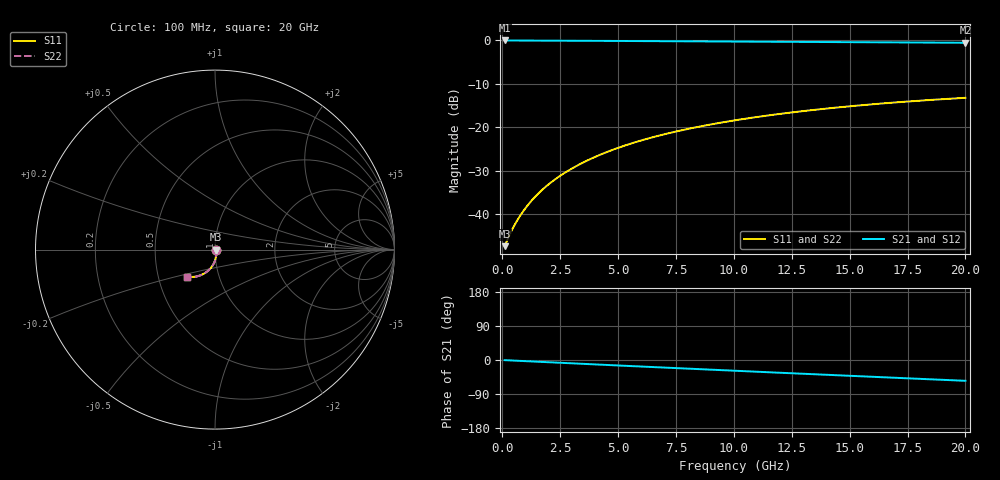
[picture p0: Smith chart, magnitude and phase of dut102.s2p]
! Touchstone file exported from HFSS 2026.1.0
!  File:  C:/ffzhzh/LocalFiles/Ansys_Project_Files/temp_train_BSMRDL_102_1782985698_40604.aedt
!  Generated:  05:49:34 PM Jul  2, 2026
!  Design:  BSMRDL
!  Project:  temp_train_BSMRDL_102_1782985698_40604
! Variables:
!  h_bsmrdl = 5.96um
!  h_ox = 20um
!  h_rdl = 5um
!  h_sub = 80um
!  h_tmrdl = 5um
!  h_tsv = 80um
!  h_via = 3um
!  l_bsmrdl = 980.58um
!  l_sub = 1380.58um
!  l_tmrdl = 200um
!  m_sub = 200um
!  pitch = 17.32um
!  r_tsv = 6um
!  s_tmrdl = 10um
!  w_bsmrdl = 14.56um
!  w_sub = 500um
!  w_tmrdl = 12um
!  x_tsv_center1 = 206um
!  x_tsv_center2 = 1201.14um
!  x_tsv_center3 = 1413.14um
!  x_tsv_center4 = 2408.28um
!  x_tsv_center5 = 2620.28um
!  x_tsv_center6 = 3615.42um
# GHz S MA R 50.000000
! Terminal data exported
! Port[1] = BSM_RDL1_1_T1
! Port[2] = BSM_RDL1_1_T2
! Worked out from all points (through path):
!   200 points, 100 MHz to 20 GHz, reference 50 ohm
!   highest |S21| = -0.04 dB at 100 MHz (marker M1); lowest = -0.6 dB at 20 GHz (marker M2)
!   group delay of S21, straight-line fit = 7.59 ps
!   lowest |S11| = -47.4 dB at 100 MHz (marker M3), VSWR 1.01, Z = 50.4 - j0.0165 ohm
!   |S11| at or under -10 dB: start of sweep to end of sweep
!   |S22| runs from -47.4 to -13.2 dB; largest |S21 - S12| = 8.7e-15
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0.1  0.004286 -2.2  0.9957 -0.3  0.9957 -0.3  0.004286 -2.2
! Gamma 0 0 0 0
! Port Impedance 50 0 50 0
0.3  0.005684 -16.7  0.9945 -1.0  0.9945 -1.0  0.005684 -16.7
0.4  0.00646 -24.9  0.9941 -1.3  0.9941 -1.3  0.00646 -24.9
0.5  0.007263 -32.2  0.9938 -1.6  0.9938 -1.6  0.007263 -32.2
0.7  0.008961 -43.6  0.9933 -2.1  0.9933 -2.1  0.008961 -43.6
1  0.01172 -54.9  0.9928 -3.0  0.9928 -3.0  0.01172 -54.9
1.2  0.01367 -60.0  0.9924 -3.6  0.9924 -3.6  0.01367 -60.0
1.4  0.01569 -64.0  0.9921 -4.2  0.9921 -4.2  0.01569 -64.0
1.8  0.01988 -69.7  0.9912 -5.4  0.9912 -5.4  0.01989 -69.6
2.3  0.02538 -74.5  0.9901 -6.8  0.9901 -6.8  0.02538 -74.4
2.9  0.03226 -78.6  0.9885 -8.5  0.9885 -8.5  0.03226 -78.6
3.5  0.0394 -82.0  0.9868 -10.2  0.9868 -10.2  0.0394 -81.9
4.2  0.04795 -85.3  0.9848 -12.2  0.9848 -12.2  0.04795 -85.3
5  0.05792 -88.8  0.9825 -14.5  0.9825 -14.5  0.05792 -88.8
5.9  0.06923 -92.5  0.98 -17.0  0.98 -17.0  0.06923 -92.4
6.8  0.08053 -95.9  0.9774 -19.5  0.9774 -19.5  0.08053 -95.8
8.3  0.09913 -101.3  0.9731 -23.6  0.9731 -23.6  0.09913 -101.2
10.1  0.1208 -107.3  0.9678 -28.5  0.9678 -28.5  0.1208 -107.2
11.7  0.1392 -112.4  0.963 -32.9  0.963 -32.9  0.1392 -112.3
13.4  0.1577 -117.6  0.9577 -37.5  0.9577 -37.5  0.1577 -117.5
16.7  0.1904 -127.3  0.947 -46.2  0.947 -46.2  0.1903 -127.1
20  0.218 -136.5  0.9363 -54.9  0.9363 -54.9  0.218 -136.3
